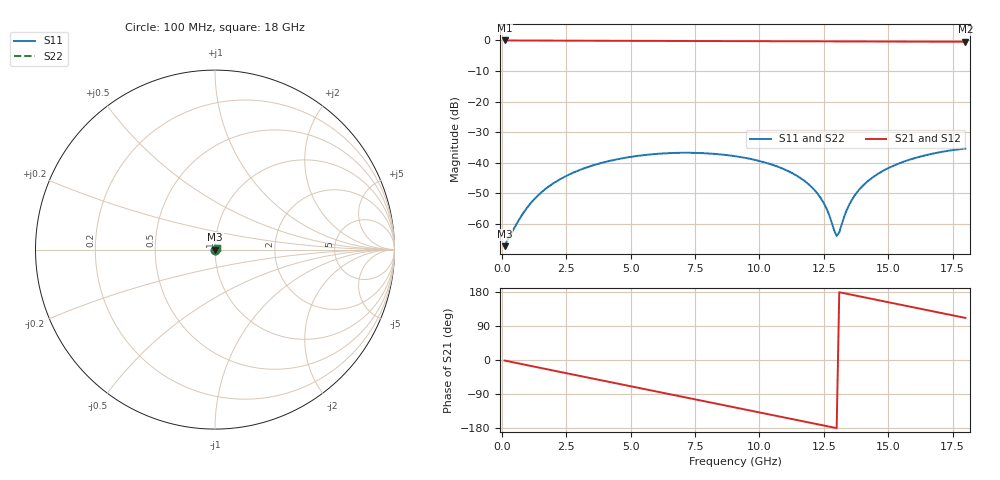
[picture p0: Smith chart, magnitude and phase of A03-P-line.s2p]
! yapnr rf coupon A: A03 P L6.5 (line, family P)
! stackup JLC04161H-7628, nominal parameters; reference planes 10 mm from each end; 50 ohm (renormalized from the line's Zc)
! model: 2D quasi-static RLGC (Djordjevic-Sarkar, Huray roughness, Wheeler loss); generated by python -m yapnr.rf.coupons expected
# GHz S DB R 50
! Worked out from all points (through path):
!   180 points, 100 MHz to 18 GHz, reference 50 ohm
!   highest |S21| = -0.01 dB at 100 MHz (marker M1); lowest = -0.4 dB at 18 GHz (marker M2)
!   group delay of S21, straight-line fit = 38.4 ps
!   lowest |S11| = -67.3 dB at 100 MHz (marker M3), VSWR 1.00, Z = 50 + j0.0238 ohm
!   |S11| at or under -10 dB: start of sweep to end of sweep
!   |S22| runs from -67.3 to -35.4 dB; largest |S21 - S12| = 0
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0.1  -67.29 33.4  -0.01 -1.4  -0.01 -1.4  -67.29 33.4
0.8  -56.77 74.9  -0.03 -11.2  -0.03 -11.2  -56.77 74.9
1.3  -51.51 78.9  -0.04 -18.2  -0.04 -18.2  -51.51 78.9
2.1  -46.17 73.6  -0.06 -29.3  -0.06 -29.3  -46.17 73.6
3.1  -42.11 62.1  -0.09 -43.1  -0.09 -43.1  -42.11 62.1
4.6  -38.66 42.7  -0.13 -63.9  -0.13 -63.9  -38.66 42.7
6.1  -37.05 22.6  -0.16 -84.6  -0.16 -84.6  -37.05 22.6
7.6  -36.80 2.4  -0.20 -105.3  -0.20 -105.3  -36.80 2.4
9.1  -37.92 -17.6  -0.23 -126.0  -0.23 -126.0  -37.92 -17.6
10.9  -41.92 -40.4  -0.27 -150.8  -0.27 -150.8  -41.92 -40.4
11.6  -45.05 -47.9  -0.29 -160.4  -0.29 -160.4  -45.05 -47.9
12.1  -48.59 -51.5  -0.30 -167.4  -0.30 -167.4  -48.59 -51.5
12.4  -51.81 -51.0  -0.31 -171.5  -0.31 -171.5  -51.81 -51.0
12.6  -54.89 -47.5  -0.31 -174.3  -0.31 -174.3  -54.89 -47.5
13  -63.94 11.6  -0.32 -179.8  -0.32 -179.8  -63.94 11.6
13.1  -62.77 44.6  -0.32 178.8  -0.32 178.8  -62.77 44.6
13.4  -55.28 79.5  -0.33 174.7  -0.33 174.7  -55.28 79.5
13.8  -49.57 84.6  -0.34 169.2  -0.34 169.2  -49.57 84.6
14.4  -44.78 81.2  -0.35 160.9  -0.35 160.9  -44.78 81.2
15.1  -41.38 73.7  -0.37 151.2  -0.37 151.2  -41.38 73.7
16.4  -37.66 57.6  -0.40 133.2  -0.40 133.2  -37.66 57.6
18  -35.36 36.7  -0.43 111.0  -0.43 111.0  -35.36 36.7
